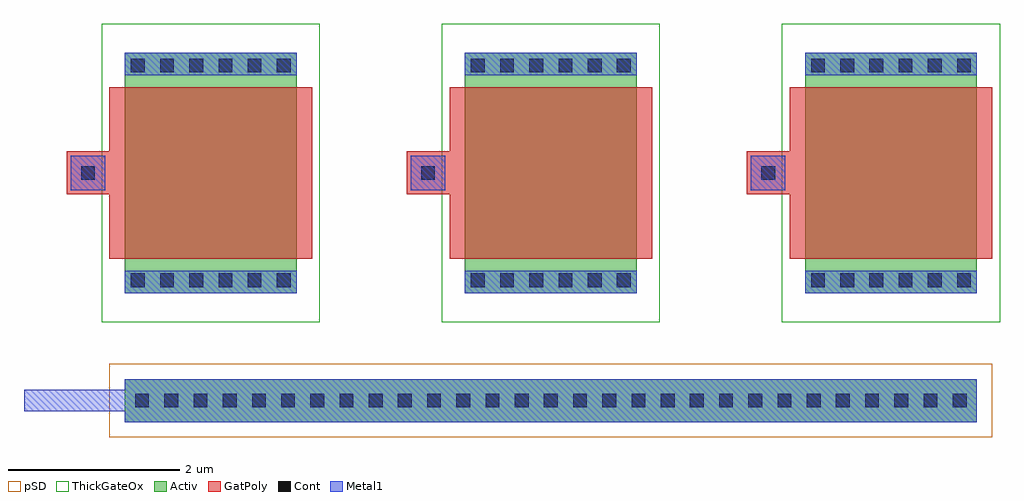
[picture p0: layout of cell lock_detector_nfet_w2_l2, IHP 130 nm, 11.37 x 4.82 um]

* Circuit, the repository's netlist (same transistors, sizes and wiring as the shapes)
* extracted by klt extract --deck sg13cmos5l

* cell lock_detector_nfet_w2_l2
* pin vsubs
.SUBCKT lock_detector_nfet_w2_l2 vsubs
* device instance $1 r0 *1 2.3,3.86 nfet
X$1 \$4 \$1 \$5 vsubs sg13_hv_nmos L=2U W=2U AS=0.8P AD=0.8P PS=4.8U PD=4.8U
* device instance $2 r0 *1 6.26,3.86 nfet
X$2 \$6 \$2 \$7 vsubs sg13_hv_nmos L=2U W=2U AS=0.8P AD=0.8P PS=4.8U PD=4.8U
* device instance $3 r0 *1 10.22,3.86 nfet
X$3 \$8 \$3 \$9 vsubs sg13_hv_nmos L=2U W=2U AS=0.8P AD=0.8P PS=4.8U PD=4.8U
.ENDS lock_detector_nfet_w2_l2

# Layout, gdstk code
import gdstk
lib = gdstk.Library(unit=1e-6, precision=1e-09)
def R(c, l, rs):  # rectangles x0, y0, x1, y1
    for r in rs: c.add(gdstk.rectangle(r[:2], r[2:], *l))
def A(c, l, x, y, w, h, nx, ny, dx, dy):  # array of equal rectangles
    R(c, l, [(x+i*dx, y+j*dy, x+i*dx+w, y+j*dy+h) for i in range(nx) for j in range(ny)])
Activ = (1, 0)
GatPoly = (5, 0)
Cont = (6, 0)
Metal1 = (8, 0)
pSD = (14, 0)
ThickGateOx = (44, 0)

lock_detector_nfet_w2_l2 = lib.new_cell('lock_detector_nfet_w2_l2')
A(lock_detector_nfet_w2_l2, Activ, 1.3, 2.46, 2, 2.8, 3, 1, 3.96, 0)
R(lock_detector_nfet_w2_l2, Activ, [(1.3,0.96,11.22,1.46)])
A(lock_detector_nfet_w2_l2, GatPoly, 1.12, 2.86, 2.36, 2, 3, 1, 3.96, 0)
A(lock_detector_nfet_w2_l2, GatPoly, 0.62, 3.61, 0.5, 0.5, 3, 1, 3.96, 0)
A(lock_detector_nfet_w2_l2, Cont, 1.42, 1.13, 0.16, 0.16, 29, 1, 0.34, 0)
A(lock_detector_nfet_w2_l2, Cont, 1.37, 2.53, 0.16, 0.16, 6, 2, 0.34, 2.5)
A(lock_detector_nfet_w2_l2, Cont, 5.33, 2.53, 0.16, 0.16, 6, 2, 0.34, 2.5)
A(lock_detector_nfet_w2_l2, Cont, 9.29, 2.53, 0.16, 0.16, 6, 2, 0.34, 2.5)
A(lock_detector_nfet_w2_l2, Cont, 0.79, 3.78, 0.16, 0.16, 3, 1, 3.96, 0)
A(lock_detector_nfet_w2_l2, Metal1, 1.3, 2.46, 2, 0.26, 3, 2, 3.96, 2.54)
A(lock_detector_nfet_w2_l2, Metal1, 0.67, 3.66, 0.4, 0.4, 3, 1, 3.96, 0)
R(lock_detector_nfet_w2_l2, Metal1, [(1.3,0.96,11.22,1.46), (0.125,1.085,1.3,1.335)])
R(lock_detector_nfet_w2_l2, pSD, [(1.12,0.78,11.4,1.64)])
A(lock_detector_nfet_w2_l2, ThickGateOx, 1.03, 2.12, 2.54, 3.48, 3, 1, 3.96, 0)

lib.write_gds('lock_detector_nfet_w2_l2.gds')
